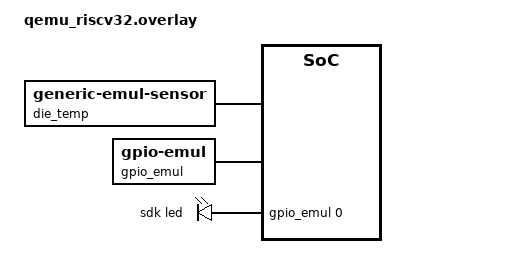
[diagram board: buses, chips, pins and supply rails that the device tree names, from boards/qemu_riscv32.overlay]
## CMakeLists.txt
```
# SPDX-License-Identifier: Apache-2.0

cmake_minimum_required(VERSION 3.20.0)
find_package(Zephyr REQUIRED HINTS $ENV{ZEPHYR_BASE})
project(app_sdk)

# Build the loadable app as an llext. It only needs the SDK header.
set(app_bin ${PROJECT_BINARY_DIR}/llext/demo_app.llext)
set(app_inc ${ZEPHYR_BINARY_DIR}/include/generated/demo_app.inc)

add_llext_target(demo_app_ext
  OUTPUT  ${app_bin}
  SOURCES ${CMAKE_CURRENT_SOURCE_DIR}/module/src/demo_app.c
)
# The module needs to find app_sdk.h.
llext_include_directories(demo_app_ext
  ${CMAKE_CURRENT_SOURCE_DIR}/src)

generate_inc_file_for_target(app ${app_bin} ${app_inc})

target_sources(app PRIVATE
  src/main.c
  src/app_sdk.c
  src/platform.c
)
```

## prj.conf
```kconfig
CONFIG_LOG=y

CONFIG_MODULES=y
CONFIG_LLEXT=y
CONFIG_LLEXT_HEAP_SIZE=64
CONFIG_LLEXT_TYPE_ELF_RELOCATABLE=y
CONFIG_LLEXT_EXPORT_BUILTINS_BY_SLID=n

CONFIG_GPIO=y
CONFIG_SENSOR=y

CONFIG_MAIN_STACK_SIZE=4096
```

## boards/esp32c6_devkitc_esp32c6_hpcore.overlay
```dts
/*
 * Copyright (c) 2026 Espressif Systems (Shanghai) Co., Ltd.
 *
 * SPDX-License-Identifier: Apache-2.0
 */

/ {
	aliases {
		sdk-led = &sdk_led;
	};

	sdk_led_pins {
		compatible = "gpio-leds";

		sdk_led: sdk_led {
			gpios = <&gpio0 8 GPIO_ACTIVE_HIGH>;
			label = "sdk led";
		};
	};
};

&coretemp {
	status = "okay";
};
```

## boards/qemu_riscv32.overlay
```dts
/*
 * Copyright (c) 2026 Espressif Systems (Shanghai) Co., Ltd.
 *
 * SPDX-License-Identifier: Apache-2.0
 */

#include <zephyr/dt-bindings/gpio/gpio.h>

/* QEMU has no die temperature sensor: stand in an emulated one. */
/ {
	die_temp: die_temp {
		compatible = "zephyr,generic-emul-sensor";
		status = "okay";
	};

	aliases {
		die-temp0 = &die_temp;
	};
};

/* QEMU has no LED: drive one on an emulated GPIO controller. */
/ {
	gpio_emul: gpio_emul {
		compatible = "zephyr,gpio-emul";
		rising-edge;
		falling-edge;
		high-level;
		low-level;
		gpio-controller;
		#gpio-cells = <2>;
		ngpios = <8>;
		status = "okay";
	};

	sdk_led_pins {
		compatible = "gpio-leds";

		sdk_led: sdk_led {
			gpios = <&gpio_emul 0 GPIO_ACTIVE_HIGH>;
			label = "sdk led";
		};
	};

	aliases {
		sdk-led = &sdk_led;
	};
};
```

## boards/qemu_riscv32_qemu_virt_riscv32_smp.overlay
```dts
/*
 * Copyright (c) 2026 Espressif Systems (Shanghai) Co., Ltd.
 *
 * SPDX-License-Identifier: Apache-2.0
 */

#include "qemu_riscv32.overlay"
```

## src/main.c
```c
/*
 * Copyright (c) 2026 Espressif Systems (Shanghai) Co., Ltd.
 *
 * SPDX-License-Identifier: Apache-2.0
 */

/*
 * App SDK demo. The platform exports one clean API surface (app_sdk.h). A
 * loadable module - compiled separately, knowing only that header - is loaded
 * at runtime and calls the SDK; it can reach only what the platform exported.
 * The capability boundary is shown two ways: the loadable app is denied Wi-Fi
 * configuration (not admin), while a trusted system app is allowed it.
 */

#include "app_sdk.h"

#include <zephyr/kernel.h>
#include <zephyr/sys/printk.h>
#include <zephyr/llext/llext.h>
#include <zephyr/llext/buf_loader.h>

extern void app_sdk_set_admin(bool admin);

static uint8_t module_buf[] = {
#include "demo_app.inc"
};

static void load_and_run_app(void)
{
	struct llext_buf_loader bl = LLEXT_BUF_LOADER(module_buf,
						      sizeof(module_buf));
	struct llext_load_param parm = LLEXT_LOAD_PARAM_DEFAULT;
	struct llext *ext = NULL;

	printk("\n=== loading a downloaded app (knows only app_sdk.h) ===\n");

	if (llext_load(&bl.loader, "demo", &ext, &parm) != 0) {
		printk("load failed\n");
		return;
	}

	void (*entry)(void) = llext_find_sym(&ext->exp_tab, "app_main");

	if (entry == NULL) {
		printk("no app_main\n");
		llext_unload(&ext);
		return;
	}

	/* A downloaded app is NOT admin. */
	app_sdk_set_admin(false);
	entry();

	llext_unload(&ext);
	printk("=== app unloaded ===\n");
}

static void trusted_system_app(void)
{
	printk("\n=== a trusted system app (granted admin) ===\n");
	app_sdk_set_admin(true);

	int rc = app_admin_wifi_set_credentials("HomeNet", "secret123");

	printk("system app wifi-config rc=%d (%s)\n", rc,
	       rc == 0 ? "ALLOWED" : "denied");
	app_sdk_set_admin(false);
}

int main(void)
{
	printk("\n*** app SDK: clean API surface, loadable apps, capability boundary ***\n");

	load_and_run_app();
	trusted_system_app();

	printk("\n*** done: app coded only against app_sdk.h; admin gated by capability ***\n");
	return 0;
}
```

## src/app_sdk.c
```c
/*
 * Copyright (c) 2026 Espressif Systems (Shanghai) Co., Ltd.
 *
 * SPDX-License-Identifier: Apache-2.0
 */

/*
 * App SDK implementation: each app_* function forwards to the real platform
 * service and is exported so loadable modules can resolve it at load time. This
 * file is the one place the platform's API surface is defined and gated.
 */

#include "app_sdk.h"

#include <zephyr/kernel.h>
#include <zephyr/sys/printk.h>
#include <zephyr/llext/symbol.h>
#include <errno.h>
#include <string.h>

/* The admin capability: set by the supervisor for trusted apps only. */
static bool caller_is_admin;

void app_sdk_set_admin(bool admin)
{
	caller_is_admin = admin;
}

/* ---- logging / time ---- */

void app_log(const char *msg)
{
	printk("    [app] %s\n", msg);
}
EXPORT_SYMBOL(app_log);

void app_sleep_ms(uint32_t ms)
{
	k_msleep((int32_t)ms);
}
EXPORT_SYMBOL(app_sleep_ms);

uint32_t app_uptime_ms(void)
{
	return (uint32_t)k_uptime_get();
}
EXPORT_SYMBOL(app_uptime_ms);

/* ---- sensors: forward to the sensor catalog (read-only, shareable) ---- */

extern int sensor_catalog_lookup(const char *name);
extern int sensor_catalog_read(int idx, int32_t *milli_value);

int app_sensor_read(const char *name, int32_t *milli_value)
{
	int idx = sensor_catalog_lookup(name);

	if (idx < 0) {
		return -ENODEV;
	}
	return sensor_catalog_read(idx, milli_value);
}
EXPORT_SYMBOL(app_sensor_read);

/* ---- LED ---- */

extern int board_led_set(int on);

int app_led_set(int on)
{
	return board_led_set(on);
}
EXPORT_SYMBOL(app_led_set);

/* ---- MQTT: app-level capability, brokered ---- */

extern int mqtt_broker_publish(const char *topic, const char *payload);
extern int mqtt_broker_poll(char *topic, size_t tsz, char *payload, size_t psz,
			    int32_t timeout_ms);

int app_mqtt_publish(const char *topic, const char *payload)
{
	return mqtt_broker_publish(topic, payload);
}
EXPORT_SYMBOL(app_mqtt_publish);

int app_mqtt_poll(char *topic, size_t topic_sz, char *payload, size_t payload_sz,
		  int32_t timeout_ms)
{
	return mqtt_broker_poll(topic, topic_sz, payload, payload_sz, timeout_ms);
}
EXPORT_SYMBOL(app_mqtt_poll);

/* ---- system administration: privileged, gated ---- */

extern int wifi_admin_set_credentials(const char *ssid, const char *psk);
extern int wifi_admin_forget(const char *ssid);

int app_admin_wifi_set_credentials(const char *ssid, const char *psk)
{
	if (!caller_is_admin) {
		printk("    [sdk] DENIED: app lacks admin capability for wifi config\n");
		return -EPERM;
	}
	return wifi_admin_set_credentials(ssid, psk);
}
EXPORT_SYMBOL(app_admin_wifi_set_credentials);

int app_admin_wifi_forget(const char *ssid)
{
	if (!caller_is_admin) {
		return -EPERM;
	}
	return wifi_admin_forget(ssid);
}
EXPORT_SYMBOL(app_admin_wifi_forget);
```

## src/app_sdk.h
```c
/*
 * Copyright (c) 2026 Espressif Systems (Shanghai) Co., Ltd.
 *
 * SPDX-License-Identifier: Apache-2.0
 */

#ifndef APP_SDK_H_
#define APP_SDK_H_

#include <stdint.h>
#include <stddef.h>

/*
 * App SDK - the entire platform surface an application may use. An app codes
 * against ONLY this header. It never sees syscalls, brokers, drivers,
 * devicetree, or kernel objects. The firmware implements each app_* function
 * (forwarding to the real service) and exports it; a loadable module resolves
 * these symbols at load time, so the export set is both the API and the
 * security boundary - anything not here is uncallable.
 *
 * The line between an app CAPABILITY and SYSTEM ADMINISTRATION is explicit:
 * apps may publish/subscribe MQTT (app-level behavior), but apps may NOT change
 * Wi-Fi credentials (privileged config affecting the whole device). Admin calls
 * return -EPERM unless the caller holds the admin capability.
 */

/* ---- logging / time (always available) ---- */
void     app_log(const char *msg);
void     app_sleep_ms(uint32_t ms);
uint32_t app_uptime_ms(void);

/* ---- sensors (read-only, shared, any app) ---- */
int app_sensor_read(const char *name, int32_t *milli_value);

/* ---- simple I/O ---- */
int app_led_set(int on);

/* ---- MQTT (app-level capability: an app's own pub/sub) ---- */
int app_mqtt_publish(const char *topic, const char *payload);
/* Returns 0 and fills topic/payload on a received message, -EAGAIN if none. */
int app_mqtt_poll(char *topic, size_t topic_sz, char *payload, size_t payload_sz,
		  int32_t timeout_ms);

/* ---- system administration (privileged: NOT a normal app capability) ----
 * These affect the whole device. They succeed only for an app granted the
 * admin capability; a normal app gets -EPERM.
 */
int app_admin_wifi_set_credentials(const char *ssid, const char *psk);
int app_admin_wifi_forget(const char *ssid);

#endif /* APP_SDK_H_ */
```

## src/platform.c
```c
/*
 * Copyright (c) 2026 Espressif Systems (Shanghai) Co., Ltd.
 *
 * SPDX-License-Identifier: Apache-2.0
 */

/*
 * Platform services the SDK forwards to. Real services would each be a broker;
 * here they are compact stand-ins that show the shape: sensors are read live,
 * the LED toggles a pin, MQTT is a brokered queue (a real client would connect
 * over the network), and Wi-Fi credential management is privileged config
 * persisted with the wifi_credentials subsystem.
 */

#include <zephyr/kernel.h>
#include <zephyr/sys/printk.h>
#include <zephyr/device.h>
#include <zephyr/drivers/gpio.h>
#include <zephyr/drivers/sensor.h>
#include <string.h>
#include <errno.h>

/* ---- sensors ---- */

static const struct device *const die_temp = DEVICE_DT_GET(DT_ALIAS(die_temp0));

int sensor_catalog_lookup(const char *name)
{
	if (strcmp(name, "temperature") == 0) {
		return 0;
	}
	return -1;
}

int sensor_catalog_read(int idx, int32_t *milli_value)
{
	if (idx != 0 || !device_is_ready(die_temp)) {
		return -ENODEV;
	}
	if (sensor_sample_fetch(die_temp) != 0) {
		return -EIO;
	}
	struct sensor_value v;

	if (sensor_channel_get(die_temp, SENSOR_CHAN_DIE_TEMP, &v) != 0) {
		return -EIO;
	}
	*milli_value = v.val1 * 1000 + v.val2 / 1000;
	return 0;
}

/* ---- LED ---- */

static const struct gpio_dt_spec led = GPIO_DT_SPEC_GET(DT_ALIAS(sdk_led), gpios);

int board_led_set(int on)
{
	if (!gpio_is_ready_dt(&led)) {
		return -ENODEV;
	}
	return gpio_pin_set_dt(&led, on ? 1 : 0);
}

/* ---- MQTT broker (queue stand-in for a network client) ---- */

struct mqtt_msg {
	char topic[32];
	char payload[64];
};

K_MSGQ_DEFINE(mqtt_inbox, sizeof(struct mqtt_msg), 4, 4);

int mqtt_broker_publish(const char *topic, const char *payload)
{
	/* A real broker forwards to mqtt_publish() over the network. For the
	 * demo, loop it back so a subscriber can observe delivery end to end.
	 */
	printk("    [mqtt] publish topic='%s' payload='%s'\n", topic, payload);

	struct mqtt_msg m;

	strncpy(m.topic, topic, sizeof(m.topic) - 1);
	m.topic[sizeof(m.topic) - 1] = '\0';
	strncpy(m.payload, payload, sizeof(m.payload) - 1);
	m.payload[sizeof(m.payload) - 1] = '\0';
	(void)k_msgq_put(&mqtt_inbox, &m, K_NO_WAIT);
	return 0;
}

int mqtt_broker_poll(char *topic, size_t tsz, char *payload, size_t psz,
		     int32_t timeout_ms)
{
	struct mqtt_msg m;

	if (k_msgq_get(&mqtt_inbox, &m, K_MSEC(timeout_ms)) != 0) {
		return -EAGAIN;
	}
	strncpy(topic, m.topic, tsz - 1);
	topic[tsz - 1] = '\0';
	strncpy(payload, m.payload, psz - 1);
	payload[psz - 1] = '\0';
	return 0;
}

/* ---- privileged Wi-Fi credential management ---- */

int wifi_admin_set_credentials(const char *ssid, const char *psk)
{
	/* A real implementation calls wifi_credentials_set_personal() to persist
	 * to flash; shown here as the privileged operation it is.
	 */
	printk("    [admin] Wi-Fi credentials updated: ssid='%s' (psk %zu chars)\n",
	       ssid, strlen(psk));
	return 0;
}

int wifi_admin_forget(const char *ssid)
{
	printk("    [admin] Wi-Fi network forgotten: ssid='%s'\n", ssid);
	return 0;
}
```
